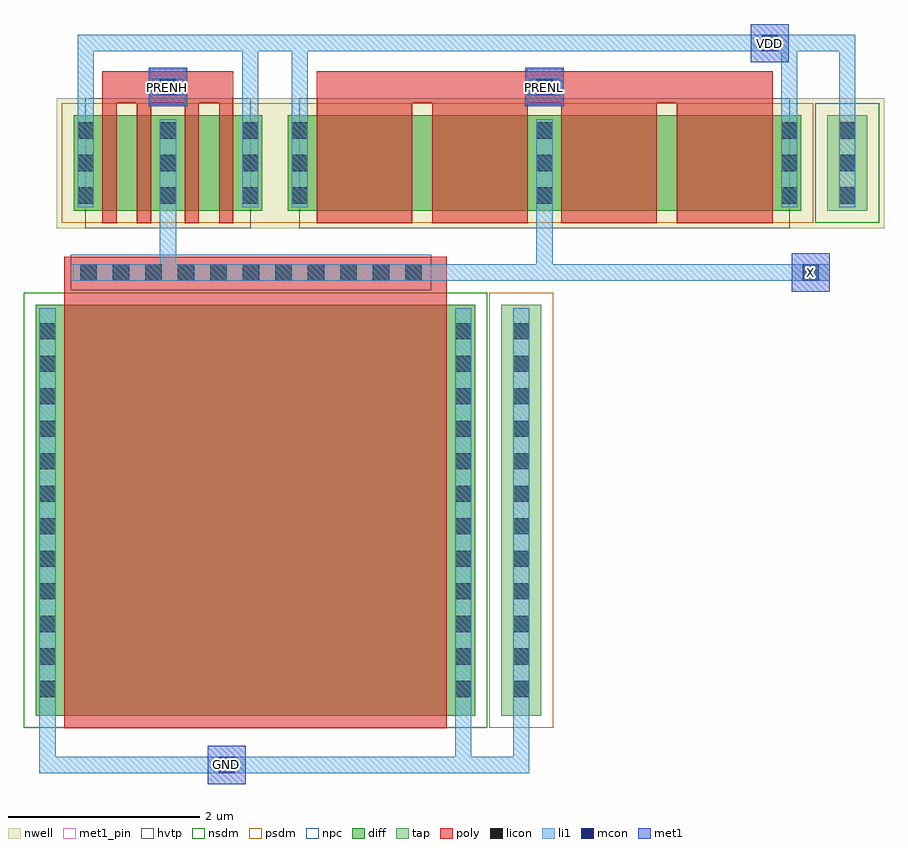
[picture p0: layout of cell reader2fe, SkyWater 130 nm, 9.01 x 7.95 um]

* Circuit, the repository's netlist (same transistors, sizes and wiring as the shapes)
* NGSPICE file created from reader2fe.ext - technology: sky130A

.subckt reader2fe PRENH PRENL X VDD GND
X0 VDD PRENL a_1300_1056# VDD sky130_fd_pr__pfet_01v8_hvt ad=0.3 pd=2.6 as=0.105 ps=1.21 w=1 l=1
X1 X PRENL a_788_1056# VDD sky130_fd_pr__pfet_01v8_hvt ad=0.175 pd=1.35 as=0.105 ps=1.21 w=1 l=1
X2 GND X GND GND sky130_fd_pr__nfet_01v8 ad=1.29 pd=9.2 as=2.58 ps=18.4 w=4.3 l=4
X3 a_1300_1056# PRENL X VDD sky130_fd_pr__pfet_01v8_hvt ad=0.105 pd=1.21 as=0.175 ps=1.35 w=1 l=1
X4 a_788_1056# PRENL VDD VDD sky130_fd_pr__pfet_01v8_hvt ad=0.105 pd=1.21 as=0.3 ps=2.6 w=1 l=1
X5 a_342_1056# PRENH X VDD sky130_fd_pr__pfet_01v8_hvt ad=0.105 pd=1.21 as=0.175 ps=1.35 w=1 l=0.15
X6 a_170_1056# PRENH VDD VDD sky130_fd_pr__pfet_01v8_hvt ad=0.105 pd=1.21 as=0.3 ps=2.6 w=1 l=0.15
X7 X PRENH a_170_1056# VDD sky130_fd_pr__pfet_01v8_hvt ad=0.175 pd=1.35 as=0.105 ps=1.21 w=1 l=0.15
X8 VDD PRENH a_342_1056# VDD sky130_fd_pr__pfet_01v8_hvt ad=0.3 pd=2.6 as=0.105 ps=1.21 w=1 l=0.15
.ends

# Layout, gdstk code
import gdstk
lib = gdstk.Library(unit=1e-6, precision=1e-09)
def R(c, l, rs):  # rectangles x0, y0, x1, y1
    for r in rs: c.add(gdstk.rectangle(r[:2], r[2:], *l))
def A(c, l, x, y, w, h, nx, ny, dx, dy):  # array of equal rectangles
    R(c, l, [(x+i*dx, y+j*dy, x+i*dx+w, y+j*dy+h) for i in range(nx) for j in range(ny)])
nwell = (64, 20)
diff = (65, 20)
tap = (65, 44)
poly = (66, 20)
licon = (66, 44)
li1 = (67, 20)
mcon = (67, 44)
met1_pin = (68, 16)
met1 = (68, 20)
hvtp = (78, 44)
nsdm = (93, 44)
psdm = (94, 20)
npc = (95, 20)

reader2fe = lib.new_cell('reader2fe')
R(reader2fe, nwell, [(0.22,5.1,8.88,6.46)])
R(reader2fe, diff, [(0,0,4.6,4.3), (0.4,5.28,2.37,6.28), (2.64,5.28,8.01,6.28)])
R(reader2fe, tap, [(4.87,0,5.29,4.3), (8.28,5.28,8.7,6.28)])
R(reader2fe, poly, [(0.3,-0.13,4.3,4.8), (0.7,5.15,0.85,6.41), (1.06,5.15,1.21,6.41), (1.56,5.15,1.71,6.41), (1.92,5.15,2.07,6.41), (2.94,5.15,3.94,6.41), (4.15,5.15,5.15,6.41), (5.5,5.15,6.5,6.41), (6.71,5.15,7.71,6.41), (0.7,6.41,2.07,6.74), (2.94,6.41,7.71,6.74)])
A(reader2fe, licon, 0.04, 0.195, 0.17, 0.17, 1, 12, 0, 0.34)
A(reader2fe, licon, 4.39, 0.195, 0.17, 0.17, 1, 12, 0, 0.34)
A(reader2fe, licon, 4.995, 0.195, 0.17, 0.17, 1, 12, 0, 0.34)
A(reader2fe, licon, 0.47, 4.55, 0.17, 0.17, 11, 1, 0.34, 0)
A(reader2fe, licon, 0.44, 5.355, 0.17, 0.17, 3, 3, 0.86, 0.34)
A(reader2fe, licon, 2.68, 5.355, 0.17, 0.17, 3, 3, 2.56, 0.34)
A(reader2fe, licon, 8.405, 5.355, 0.17, 0.17, 1, 3, 0, 0.34)
R(reader2fe, licon, [(1.3,6.49,1.47,6.66), (5.24,6.49,5.41,6.66)])
R(reader2fe, li1, [(0.04,-0.6,5.165,-0.43), (0.04,-0.43,0.21,4.26), (4.39,-0.43,4.56,4.26), (4.995,-0.43,5.165,4.26), (0.39,4.55,8.31,4.72), (1.3,4.72,1.47,6.24), (5.24,4.72,5.41,6.24), (0.44,5.32,0.61,6.95), (2.16,5.32,2.33,6.95), (2.68,5.32,2.85,6.95), (7.8,5.32,7.97,6.95), (8.405,5.32,8.575,6.95), (1.22,6.49,1.55,6.66), (5.16,6.49,5.49,6.66), (0.44,6.95,8.575,7.12)])
R(reader2fe, mcon, [(1.915,-0.6,2.085,-0.43), (8.025,4.55,8.195,4.72), (1.3,6.49,1.47,6.66), (5.24,6.49,5.41,6.66), (7.595,6.95,7.765,7.12)])
R(reader2fe, met1_pin, [(1.8,-0.715,2.2,-0.315), (7.91,4.435,8.31,4.835), (1.185,6.375,1.585,6.775), (5.125,6.375,5.525,6.775), (7.48,6.835,7.88,7.235)])
R(reader2fe, met1, [(1.8,-0.715,2.2,-0.315), (7.91,4.435,8.31,4.835), (1.185,6.375,1.585,6.775), (5.125,6.375,5.525,6.775), (7.48,6.835,7.88,7.235)])
R(reader2fe, hvtp, [(0.52,5.1,2.25,6.46), (2.76,5.1,7.89,6.46)])
R(reader2fe, nsdm, [(-0.125,-0.125,4.725,4.425), (8.155,5.155,8.825,6.405)])
R(reader2fe, psdm, [(4.745,-0.125,5.415,4.425), (0.275,5.155,8.135,6.405)])
R(reader2fe, npc, [(0.37,4.45,4.14,4.82), (1.2,6.39,1.57,6.76), (5.14,6.39,5.51,6.76)])
reader2fe.add(gdstk.Label('PRENH', (1.385,6.575), layer=68, texttype=5))
reader2fe.add(gdstk.Label('PRENL', (5.325,6.575), layer=68, texttype=5))
reader2fe.add(gdstk.Label('X', (8.11,4.635), layer=68, texttype=5))
reader2fe.add(gdstk.Label('VDD', (7.68,7.035), layer=68, texttype=5))
reader2fe.add(gdstk.Label('GND', (2,-0.515), layer=68, texttype=5))

lib.write_gds('reader2fe.gds')
